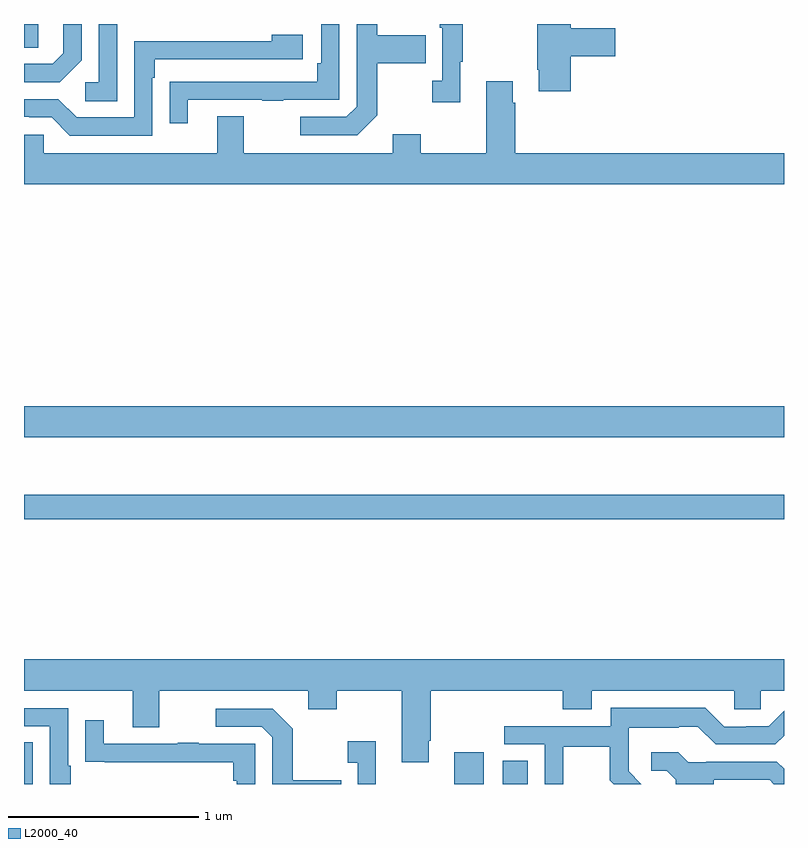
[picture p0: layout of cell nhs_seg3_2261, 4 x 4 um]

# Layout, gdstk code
import gdstk
lib = gdstk.Library(unit=1e-6, precision=1e-09)
def R(c, l, rs):  # rectangles x0, y0, x1, y1
    for r in rs: c.add(gdstk.rectangle(r[:2], r[2:], *l))
def P(c, l, *ps):  # polygons
    for p in ps: c.add(gdstk.Polygon(p, *l))
L2000_40 = (2000, 40)

nhs_seg3_2261 = lib.new_cell('nhs_seg3_2261')
R(nhs_seg3_2261, L2000_40, [(227,724.4,227.046,724.619), (229.265,724.4,229.42,724.567), (229.52,724.4,229.651,724.523), (227,725.794,231,725.923), (227,726.224,231,726.388), (227,728.275,227.076,728.4)])
P(nhs_seg3_2261, L2000_40, [(227.863,728.001),(228.253,728.001),(228.253,727.996),(228.365,727.996),(228.365,728.001),(228.66,728.001),(228.66,728.4),(228.564,728.4),(228.564,728.194),(228.544,728.194),(228.544,728.097),(227.869,728.097),(227.869,728.096),(227.767,728.096),(227.767,727.878),(227.863,727.878)],
  [(229.877,728.231),(230.113,728.231),(230.113,728.378),(229.877,728.378),(229.877,728.4),(229.702,728.4),(229.702,728.158),(229.709,728.158),(229.709,728.046),(229.877,728.046)],
  [(228.859,727.921),(228.859,728.194),(229.115,728.194),(229.115,728.341),(228.859,728.341),(228.859,728.4),(228.75,728.4),(228.75,727.965),(228.696,727.911),(228.453,727.911),(228.453,727.815),(228.753,727.815)],
  [(229.297,728.201),(229.309,728.201),(229.309,728.4),(229.188,728.4),(229.188,728.381),(229.2,728.381),(229.2,728.102),(229.149,728.102),(229.149,727.989),(229.297,727.989)],
  [(227.304,728.21),(227.304,728.4),(227.207,728.4),(227.207,728.247),(227.15,728.19),(227,728.19),(227,728.094),(227.188,728.094)],
  [(227.49,728.4),(227.394,728.4),(227.394,728.094),(227.322,728.094),(227.322,727.993),(227.49,727.993)],
  [(227.676,728.117),(227.689,728.117),(227.689,728.214),(228.466,728.214),(228.466,728.344),(228.305,728.344),(228.305,728.31),(227.58,728.31),(227.58,727.908),(227.277,727.908),(227.181,728.004),(227,728.004),(227,727.911),(227.027,727.911),(227.027,727.908),(227.145,727.908),(227.241,727.812),(227.676,727.812)],
  [(231,727.72),(229.586,727.72),(229.586,727.985),(229.573,727.985),(229.573,728.098),(229.433,728.098),(229.433,727.72),(229.089,727.72),(229.089,727.819),(228.941,727.819),(228.941,727.72),(228.157,727.72),(228.157,727.915),(228.017,727.915),(228.017,727.72),(227.103,727.72),(227.103,727.818),(227,727.818),(227,727.556),(231,727.556)],
  [(229.129,724.627),(229.142,724.627),(229.142,724.892),(229.835,724.892),(229.835,724.793),(229.987,724.793),(229.987,724.892),(230.739,724.892),(230.739,724.794),(230.877,724.794),(230.877,724.892),(231,724.892),(231,725.056),(227,725.056),(227,724.892),(227.573,724.892),(227.573,724.698),(227.713,724.698),(227.713,724.892),(228.497,724.892),(228.497,724.793),(228.645,724.793),(228.645,724.892),(228.989,724.892),(228.989,724.515),(229.129,724.515)],
  [(229.839,724.596),(230.083,724.596),(230.083,724.421),(230.104,724.4),(230.248,724.4),(230.182,724.466),(230.182,724.563),(230.184,724.563),(230.184,724.697),(230.447,724.697),(230.447,724.701),(230.547,724.701),(230.64,724.608),(230.955,724.608),(231,724.653),(231,724.785),(230.919,724.704),(230.801,724.704),(230.801,724.701),(230.685,724.701),(230.585,724.801),(230.088,724.801),(230.088,724.704),(229.527,724.704),(229.527,724.608),(229.74,724.608),(229.74,724.4),(229.839,724.4)],
  [(227.245,724.495),(227.232,724.495),(227.232,724.8),(227,724.8),(227,724.704),(227.136,724.704),(227.136,724.4),(227.245,724.4)],
  [(228.671,724.419),(228.415,724.419),(228.415,724.691),(228.309,724.797),(228.009,724.797),(228.009,724.701),(228.252,724.701),(228.306,724.647),(228.306,724.4),(228.671,724.4)],
  [(228.216,724.611),(227.921,724.611),(227.921,724.616),(227.809,724.616),(227.809,724.611),(227.419,724.611),(227.419,724.735),(227.323,724.735),(227.323,724.516),(227.425,724.516),(227.425,724.515),(228.1,724.515),(228.1,724.418),(228.12,724.418),(228.12,724.4),(228.216,724.4)],
  [(228.852,724.624),(228.705,724.624),(228.705,724.511),(228.756,724.511),(228.756,724.4),(228.852,724.4)],
  [(230.629,724.422),(230.924,724.422),(230.946,724.4),(231,724.4),(231,724.48),(230.962,724.518),(230.59,724.518),(230.59,724.515),(230.496,724.515),(230.444,724.567),(230.301,724.567),(230.301,724.47),(230.382,724.47),(230.429,724.423),(230.429,724.4),(230.629,724.4)])

lib.write_gds('nhs_seg3_2261.gds')
